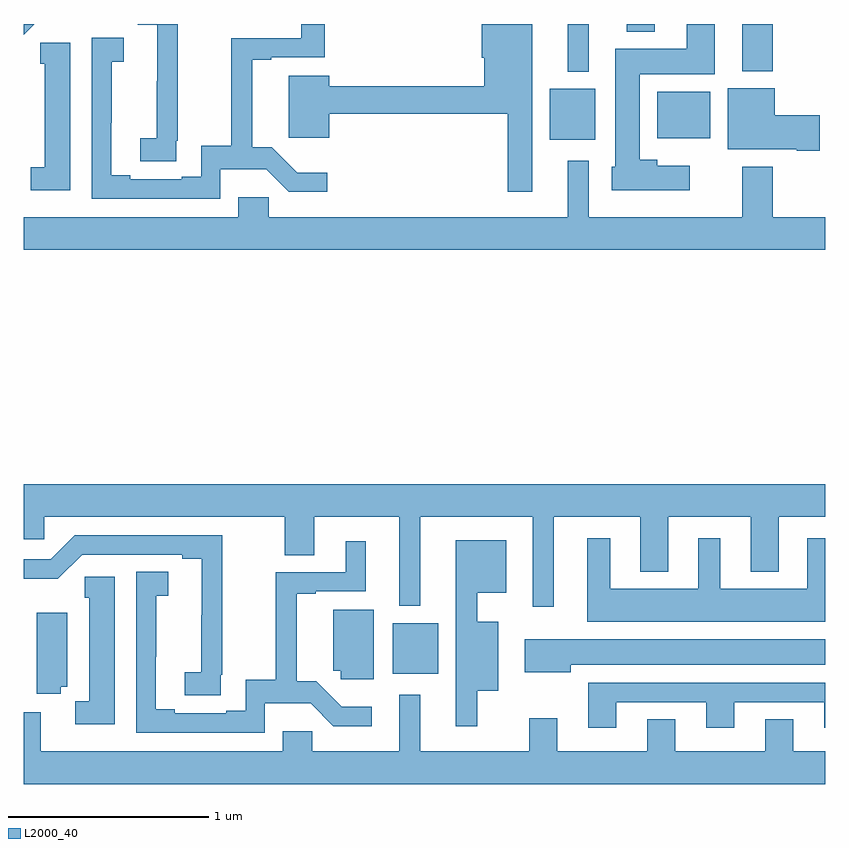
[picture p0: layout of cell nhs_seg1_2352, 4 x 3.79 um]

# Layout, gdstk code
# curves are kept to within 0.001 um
import gdstk
lib = gdstk.Library(unit=1e-6, precision=1e-09)
def R(c, l, rs):  # rectangles x0, y0, x1, y1
    for r in rs: c.add(gdstk.rectangle(r[:2], r[2:], *l))
def P(c, l, *ps):  # polygons
    for p in ps: c.add(gdstk.Polygon(p, *l))
L2000_40 = (2000, 40)

nhs_seg1_2352 = lib.new_cell('nhs_seg1_2352')
R(nhs_seg1_2352, L2000_40, [(240.842,542.957,241.069,543.211), (241.625,545.621,241.852,545.875), (242.162,545.63,242.425,545.86), (241.715,545.96,241.819,546.199), (242.585,545.963,242.738,546.199), (242.009,546.161,242.149,546.199)])
P(nhs_seg1_2352, L2000_40, [(242.323,545.491),(242.161,545.491),(242.161,545.521),(242.074,545.521),(242.074,545.948),(242.449,545.948),(242.449,546.199),(242.309,546.199),(242.309,546.076),(241.952,546.076),(241.952,545.487),(241.934,545.487),(241.934,545.369),(242.323,545.369)],
  [(239.053,546.199),(239,546.199),(239,546.146)],
  [(241.537,546.199),(241.286,546.199),(241.286,546.03),(241.298,546.03),(241.298,545.888),(240.526,545.888),(240.526,545.941),(240.323,545.941),(240.323,545.631),(240.526,545.631),(240.526,545.752),(241.416,545.752),(241.416,545.361),(241.537,545.361)],
  [(239.982,545.474),(240.211,545.474),(240.324,545.361),(240.514,545.361),(240.514,545.458),(240.365,545.458),(240.239,545.584),(240.14,545.584),(240.14,546.021),(240.235,546.021),(240.235,546.033),(240.503,546.033),(240.503,546.199),(240.386,546.199),(240.386,546.129),(240.037,546.129),(240.037,545.591),(239.886,545.591),(239.886,545.438),(239.789,545.438),(239.789,545.424),(239.533,545.424),(239.533,545.444),(239.437,545.444),(239.437,545.707),(239.439,545.707),(239.439,546.011),(239.5,546.011),(239.5,546.131),(239.34,546.131),(239.34,545.328),(239.982,545.328)],
  [(239.762,545.617),(239.768,545.617),(239.768,546.199),(239.57,546.199),(239.57,546.196),(239.666,546.196),(239.666,545.913),(239.665,545.913),(239.665,545.63),(239.583,545.63),(239.583,545.515),(239.762,545.515)],
  [(239.233,546.106),(239.083,546.106),(239.083,546),(239.105,546),(239.105,545.484),(239.037,545.484),(239.037,545.369),(239.233,545.369)],
  [(242.971,545.744),(242.746,545.744),(242.746,545.878),(242.513,545.878),(242.513,545.573),(242.858,545.573),(242.858,545.566),(242.971,545.566)],
  [(241.715,545.518),(241.715,545.236),(240.223,545.236),(240.223,545.334),(240.071,545.334),(240.071,545.236),(239,545.236),(239,545.072),(243,545.072),(243,545.236),(242.738,545.236),(242.738,545.488),(242.585,545.488),(242.585,545.236),(241.819,545.236),(241.819,545.518)],
  [(241.645,543.74),(242.075,543.74),(242.075,543.467),(242.215,543.467),(242.215,543.74),(242.627,543.74),(242.627,543.467),(242.767,543.467),(242.767,543.74),(243,543.74),(243,543.904),(239,543.904),(239,543.63),(239.103,543.63),(239.103,543.74),(240.304,543.74),(240.304,543.55),(240.451,543.55),(240.451,543.74),(240.875,543.74),(240.875,543.296),(240.979,543.296),(240.979,543.74),(241.541,543.74),(241.541,543.291),(241.645,543.291)],
  [(239.984,542.953),(239.99,542.953),(239.99,543.648),(239.256,543.648),(239.136,543.528),(239,543.528),(239,543.431),(239.171,543.431),(239.292,543.552),(239.792,543.552),(239.792,543.532),(239.888,543.532),(239.887,542.966),(239.805,542.966),(239.805,542.851),(239.984,542.851)],
  [(243,543.634),(242.909,543.634),(242.909,543.382),(242.476,543.382),(242.476,543.634),(242.366,543.634),(242.366,543.382),(241.927,543.382),(241.927,543.634),(241.811,543.634),(241.811,543.218),(243,543.218)],
  [(241.264,542.873),(241.369,542.873),(241.369,543.217),(241.264,543.217),(241.264,543.362),(241.408,543.362),(241.408,543.625),(241.157,543.625),(241.157,542.697),(241.264,542.697)],
  [(240.204,542.81),(240.433,542.81),(240.546,542.697),(240.736,542.697),(240.736,542.794),(240.587,542.794),(240.461,542.92),(240.362,542.92),(240.362,543.357),(240.457,543.357),(240.457,543.369),(240.706,543.369),(240.706,543.619),(240.608,543.619),(240.608,543.465),(240.259,543.465),(240.259,542.927),(240.108,542.927),(240.108,542.774),(240.011,542.774),(240.011,542.76),(239.755,542.76),(239.755,542.78),(239.659,542.78),(239.659,543.043),(239.661,543.043),(239.661,543.347),(239.722,543.347),(239.722,543.467),(239.562,543.467),(239.562,542.664),(240.204,542.664)],
  [(239.455,543.442),(239.305,543.442),(239.305,543.336),(239.327,543.336),(239.327,542.82),(239.259,542.82),(239.259,542.705),(239.455,542.705)],
  [(240.748,543.277),(240.545,543.277),(240.545,542.972),(240.582,542.972),(240.582,542.93),(240.748,542.93)],
  [(239.186,542.894),(239.218,542.894),(239.218,543.262),(239.066,543.262),(239.066,542.857),(239.186,542.857)],
  [(241.729,543.002),(243,543.002),(243,543.13),(241.5,543.13),(241.5,542.966),(241.729,542.966)],
  [(241.957,542.817),(242.405,542.817),(242.405,542.688),(242.545,542.688),(242.545,542.817),(242.993,542.817),(242.993,542.688),(243,542.688),(243,542.913),(241.817,542.913),(241.817,542.688),(241.957,542.688)],
  [(243,542.572),(242.839,542.572),(242.839,542.732),(242.699,542.732),(242.699,542.572),(242.251,542.572),(242.251,542.732),(242.111,542.732),(242.111,542.572),(241.663,542.572),(241.663,542.737),(241.523,542.737),(241.523,542.572),(240.979,542.572),(240.979,542.854),(240.875,542.854),(240.875,542.572),(240.44,542.572),(240.44,542.67),(240.293,542.67),(240.293,542.572),(239.086,542.572),(239.086,542.767),(239,542.767),(239,542.408),(243,542.408)])

lib.write_gds('nhs_seg1_2352.gds')
